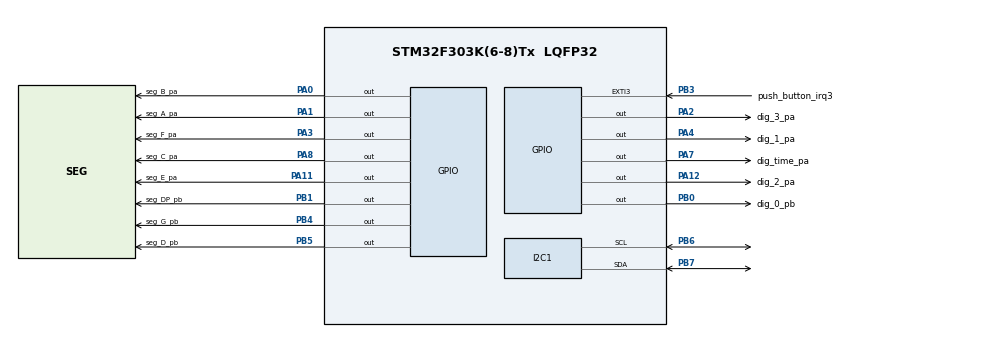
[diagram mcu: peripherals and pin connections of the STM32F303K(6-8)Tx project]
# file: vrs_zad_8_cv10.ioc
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I2C1.NoStretchMode=I2C_NOSTRETCH_ENABLE
Mcu.Family=STM32F3
Mcu.Name=STM32F303K(6-8)Tx
Mcu.Package=LQFP32
NVIC.EXTI3_IRQn=true\:0\:0\:false\:false\:true\:true\:true
NVIC.I2C1_EV_IRQn=true\:0\:0\:false\:false\:true\:true\:true
NVIC.PriorityGroup=NVIC_PRIORITYGROUP_4
NVIC.TIM1_TRG_COM_TIM17_IRQn=true\:0\:0\:false\:false\:true\:true\:true
NVIC.TIM1_UP_TIM16_IRQn=true\:0\:0\:false\:false\:true\:true\:true
PA0.GPIO_Label=seg_B_pa
PA0.Signal=GPIO_Output
PA1.GPIO_Label=seg_A_pa
PA1.Signal=GPIO_Output
PA11.GPIO_Label=seg_E_pa
PA11.Signal=GPIO_Output
PA12.GPIO_Label=dig_2_pa
PA12.Signal=GPIO_Output
PA13.GPIO_Label=SWDIO
PA13.Mode=Serial_Wire
PA13.Signal=SYS_JTMS-SWDIO
PA14.GPIO_Label=SWCLK
PA14.Mode=Serial_Wire
PA14.Signal=SYS_JTCK-SWCLK
PA15.GPIO_Label=VCP_RX
PA15.Signal=USART2_RX
PA2.GPIO_Label=dig_3_pa
PA2.Signal=GPIO_Output
PA3.GPIO_Label=seg_F_pa
PA3.Signal=GPIO_Output
PA4.GPIO_Label=dig_1_pa
PA4.Signal=GPIO_Output
PA7.GPIO_Label=dig_time_pa
PA7.Signal=GPIO_Output
PA8.GPIO_Label=seg_C_pa
PA8.Signal=GPIO_Output
PB0.GPIO_Label=dig_0_pb
PB0.Signal=GPIO_Output
PB1.GPIO_Label=seg_DP_pb
PB1.Signal=GPIO_Output
PB3.GPIO_Label=push_button_irq3
PB3.GPIO_ModeDefaultEXTI=GPIO_MODE_IT_RISING
PB3.GPIO_PuPd=GPIO_PULLDOWN
PB3.Signal=GPXTI3
PB4.GPIO_Label=seg_G_pb
PB4.Signal=GPIO_Output
PB5.GPIO_Label=seg_D_pb
PB5.Signal=GPIO_Output
PB6.Mode=I2C
PB6.Signal=I2C1_SCL
PB7.Mode=I2C
PB7.Signal=I2C1_SDA
PF0\ /\ OSC_IN.GPIO_Label=MCO
PF0\ /\ OSC_IN.Mode=HSE-External-Clock-Source
PF0\ /\ OSC_IN.Signal=RCC_OSC_IN
ProjectManager.HeapSize=0x200
ProjectManager.StackSize=0x400
ProjectManager.TargetToolchain=STM32CubeIDE
RCC.AHBFreq_Value=8000000
RCC.APB1Freq_Value=8000000
RCC.APB2Freq_Value=8000000
RCC.CortexFreq_Value=8000000
RCC.HSE_VALUE=8000000
RCC.HSI_VALUE=8000000
RCC.SYSCLKFreq_VALUE=8000000
TIM16.Period=499
TIM16.Prescaler=7999
TIM17.Period=7999
VP_TIM16_VS_ClockSourceINT.Mode=Enable_Timer
VP_TIM17_VS_ClockSourceINT.Mode=Enable_Timer
board=NUCLEO-F303K8

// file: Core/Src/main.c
/* USER CODE BEGIN Header */
/**
  ******************************************************************************
  * @file           : main.c
  * @brief          : Main program body
  ******************************************************************************
  * @attention
  *
  * <h2><center>&copy; Copyright (c) 2020 STMicroelectronics.
  * All rights reserved.</center></h2>
  *
  * This software component is licensed by ST under BSD 3-Clause license,
  * the "License"; You may not use this file except in compliance with the
  * License. You may obtain a copy of the License at:
  *                        opensource.org/licenses/BSD-3-Clause
  *
  ******************************************************************************
  */
/* USER CODE END Header */
#include "main.h"

/* USER CODE BEGIN PTD */
#include <math.h>
/* USER CODE END PTD */

/* USER CODE BEGIN PD */
#define max_test_push_button 0x3*0x1103// 10.01 msec(29.73ms)
#define max_try_to_inicialize_whoami 5
#define with_avg	0xff
#define whitout_avg	0x00

#define	WHO_AM_I_ADDRES		0x0F

#define hts221_DEVICE_ADDRESS_write	0xBE	//humidity+temp
#define hts221_DEVICE_ADDRESS_read	0xBF
#define	hts221_WHO_AM_I_VALUE 		0xBC
//#define	hts221_WHO_AM_I_ADDRES		0x0F
#define hts221_ADDRESS_HUM_L 		0x28
#define hts221_ADDRESS_TEMP_L 		0x2a
#define hts221_av_conf				0x10 //1b
#define hts221_crtl_reg_1 			0x20 //0x85

#define lps25hb_DEVICE_ADDRESS_write	0xBA	//barometer+temp(not coded)
#define lps25hb_DEVICE_ADDRESS_read		0xBB
#define	lps25hb_WHO_AM_I_VALUE 			0xBD
//#define	lps25hb_WHO_AM_I_ADDRES			0x0F
#define lps25hb_crtl_reg_1 				0x20 //0x90
#define lps25hb_ADDRESS_pres_L 			0x28

#define lis3mdl_DEVICE_ADDRESS_write	0x3c 	// magnetometer + temp(not to use)
#define lis3mdl_DEVICE_ADDRESS_read		0x3d
#define lis3mdl_WHO_AM_I_VALUE			0x3d
#define lis3mdl_ADDRESS_CTRL1			0x20
#define lis3mdl_ADDRESS_X				0x28
#define lis3mdl_ADDRESS_Y				0x2A
#define lis3mdl_ADDRESS_Z				0x2C
#define lis3mdl_ADDRESS_TEMP_L			0x2e

#define LSM6DS0_DEVICE_ADDRESS_write	0xD4 	// acelerometer + temp(not to use)
#define LSM6DS0_DEVICE_ADDRESS_read		0xD6
#define LSM6DS0_WHO_AM_I_VALUE			0x68
//#define LSM6DS0_WHO_AM_I_ADDRES		0x0F
#define LSM6DS0_ADDRESS_CTRL1			0x10
#define LSM6DS0_ADDRESS_ACCX			0x28
#define LSM6DS0_ADDRESS_ACCY			0x2A
#define LSM6DS0_ADDRESS_ACCZ			0x2C
#define LSM6DS0_ADDRESS_TEMP_L			0x20

uint8_t mode=0;
#define multiplex_display 0x1
#define shift_display 0x2
#define up_or_down	0x04
#define push_button_pushed 0x80

uint8_t what_to_measure = 5;
#define max_buff_size 64
uint8_t active_display_digit=0;
uint16_t display_buffer_pa[max_buff_size];
uint16_t display_buffer_pb[max_buff_size];
uint8_t str[max_buff_size];

uint16_t size_buff=0;
uint16_t offset=0;

float temperature=0.0;
float humidity=0.0;
float pressure=0.0;
float altitude=0.0;
float acc[3]={0.0,0.0,0.0};
float azymuth=0.0;
//float azymuth_gain=0.0;
//int16_t ret_val=0;

// hts221 calibration register values
//uint8_t H0,H1;//0x30,0x31,
uint8_t H_uint8[2];//0x30,0x31,
//int16_t H2,H3,T0,T1,T2,T3;
int16_t H_T_uint16_t[6];
//uint16_t H_T_uint16_t[6];//H2[0],H3[1],T0[2],T1[3],T2,T3
//int16_t T1,T2,T3;//[36-37:msb],0x32,0x33,[3a-3b:msb],[3c-3d:msb],[3e-3f:msb]

uint8_t *aReceiveBuffer_read , end_of_read_flag = 0;
volatile uint8_t ubReceiveIndex = 0;
/* USER CODE END PD */

/* USER CODE BEGIN PM */
void my_str_cpy(uint8_t * from, uint8_t * to, uint16_t *copied, uint16_t max);
void convert_char_to_7seg(uint8_t ch,uint16_t *pa,uint16_t *pb);
void convert_str_to_7seg(uint8_t *from, uint16_t *pa,uint16_t *pb,uint16_t max);
void start_tim17_with_IT(void);
void start_tim16_with_IT(void);
void multiplex_display_fcn(uint16_t offset,uint16_t max_offset);
uint8_t test_push_button_state(uint16_t max_test);
void push_button_pushed_fcn(void);
void calculate_altitude(uint8_t avg);
void float_to_char(float num,uint8_t *ptr,uint8_t pos, uint8_t num_of_decimals_before_DP,uint8_t num_of_decimals_after_DP);
/* USER CODE END PM */

void SystemClock_Config(void);
static void MX_GPIO_Init(void);
static void MX_TIM17_Init(void);
static void MX_TIM16_Init(void);
static void MX_I2C1_Init(void);

void i2c_master_write(uint8_t data, uint8_t register_addr, uint8_t slave_addr, uint8_t read_flag);
uint8_t* i2c_master_read(uint8_t* buffer, uint8_t length, uint8_t register_addr, uint8_t slave_addr, uint8_t read_flag);

void lsm6ds0_get_acc(float* x, float* y, float* z); //accelerometer
int16_t lsm6ds0_get_temp();// picsafust
uint8_t lsm6ds0_init(void);
//uint8_t lsm6ds0_read_byte(uint8_t reg_addr);
//void lsm6ds0_write_byte(uint8_t reg_addr, uint8_t value);
//void lsm6ds0_readArray(uint8_t * data, uint8_t reg, uint8_t length);

uint8_t hts221_init(void);	// humidity+temp meter
//uint8_t hts221_read_byte(uint8_t reg_addr);
//void hts221_write_byte(uint8_t reg_addr, uint8_t value);
//void hts221_readArray(uint8_t * data, uint8_t reg, uint8_t length);
int16_t hts221_get_temp(uint8_t avg_en);
int16_t hts221_get_hum(uint8_t avg_en);

uint8_t lps25hb_init(void);	// barometer
int32_t lps25hb_get_pressure(uint8_t avg_en);
//uint8_t lps25hb_read_byte(uint8_t reg_addr);
//void lps25hb_write_byte(uint8_t reg_addr, uint8_t value);
//void lps25hb_readArray(uint8_t * data, uint8_t reg, uint8_t length);

uint8_t lis3mdl_init(void);	// magnetometer
void lis3mdl_get_azymuth(uint8_t avg_en);
float get_gain_azymuth(void);

int main(void)
{
  /* USER CODE BEGIN 1 */
	uint8_t temp=0;
	//uint16_t ret_val=0;

  /* USER CODE END 1 */

  /* MCU Configuration--------------------------------------------------------*/

  /* Reset of all peripherals, Initializes the Flash interface and the Systick. */

  LL_APB2_GRP1_EnableClock(LL_APB2_GRP1_PERIPH_SYSCFG);
  LL_APB1_GRP1_EnableClock(LL_APB1_GRP1_PERIPH_PWR);

  NVIC_SetPriorityGrouping(NVIC_PRIORITYGROUP_4);

  /* System interrupt init*/

  /* Configure the system clock */
  SystemClock_Config();

  /* Initialize all configured peripherals */
  MX_GPIO_Init();
  MX_TIM17_Init();
  MX_TIM16_Init();
  MX_I2C1_Init();
  /* USER CODE BEGIN 2 */

  //my_str_cpy((uint8_t *) "PEtEr_SZabo_47447_PIrHaLa_MatEJ_92621", str, &size_buff, max_buff_size);
  //convert_str_to_7seg(str, display_buffer_pa,display_buffer_pb,size_buff);

  push_button_pushed_fcn();
  //NVIC_EnableIRQ(EXTI0_IRQn);

//  temp=lsm6ds0_init();//accelerometer
  temp=hts221_init();//humidity
  temp=lps25hb_init();//barometer
  temp=lis3mdl_init();//magnetometer
  if (temp==0)
  	  {acc[0]=0.0;}

  start_tim17_with_IT();
  start_tim16_with_IT();
  //start_i2c_set_dma();

  /* USER CODE END 2 */

  /* Infinite loop */
  /* USER CODE BEGIN WHILE */
  while (1)
  {
	  __WFI();
	  if (mode & multiplex_display){
		  multiplex_display_fcn(offset,size_buff-4);
		  mode &=~ multiplex_display;
	  }
	  if (mode & shift_display){
		  //get_temperature();
		  //lsm6ds0_get_acc(&acc[0],&acc[1],&acc[2]);
		  //ret_val=lsm6ds0_get_temp(); //picsafust
		  //ret_val=hts221_get_temp(0xff);	//fasza
		  //ret_val=hts221_get_hum(0xff);	//fasza

		  if (mode & up_or_down){
			  // up

			  offset++;
			  if (offset >(size_buff-4)){
				  offset=size_buff-4;
				  mode &= ~up_or_down;
			  }
		  }
		  else{

			  if (offset == 0){
				  offset=0;
				  mode |=up_or_down;
			  }
			  else{
				  offset--;
			  }
		  }
		  switch (what_to_measure){
		  case 0:{ // magnitude == azymuth
			  lis3mdl_get_azymuth(with_avg);
			  // float to char
			  float_to_char(azymuth,str,4, 3,1);
			  break;}
		  case 1:{ // temperature
			  hts221_get_temp(with_avg);
			  // float to char
			  float_to_char(temperature,str,5, 2,1);
			  break;}
		  case 2: { // humidity
			  hts221_get_hum(with_avg);
			  // float to char
			  float_to_char(humidity,str,4, 2,0);
			  break;}
		  case 3: { // pressure
			  lps25hb_get_pressure(with_avg);
			  // float to char
			  float_to_char(pressure,str,4, 4,2);
			  break;}
		  case 4: { // altitude
			  lps25hb_get_pressure(with_avg);
			  hts221_get_temp(with_avg);
			  calculate_altitude(with_avg);
			  // float to char
			  float_to_char(altitude,str,4, 4,1);
			  break;}

		  }
		  //hts221_get_temp(with_avg);			//fasza
		  //hts221_get_hum(with_avg);				//fasza
		  //lps25hb_get_pressure(with_avg);		//fasza
		  //calculate_altitude(with_avg);			//fasza
		  //lis3mdl_get_azymuth(with_avg);		//kerdeses

		  //offset++;
		  //LL_GPIO_TogglePin(led_GPIO_Port,led_Pin);
		  //if (offset >(size_buff-4)){
		  	  //offset=0;}
		  mode &=~ shift_display;
	  }
	  if (mode & push_button_pushed){
		  //LL_GPIO_TogglePin(led_GPIO_Port, led_Pin);
		  if (test_push_button_state(max_test_push_button)){
			  push_button_pushed_fcn();
		  }
		  //LL_GPIO_TogglePin(led_GPIO_Port, led_Pin);
		  mode &= ~ push_button_pushed;
	  }
    /* USER CODE END WHILE */

  }
}

void SystemClock_Config(void)
{
  LL_FLASH_SetLatency(LL_FLASH_LATENCY_0);
  while(LL_FLASH_GetLatency()!= LL_FLASH_LATENCY_0)
  {
  }
  LL_RCC_HSI_Enable();

   /* Wait till HSI is ready */
  while(LL_RCC_HSI_IsReady() != 1)
  {

  }
  LL_RCC_HSI_SetCalibTrimming(16);
  LL_RCC_SetAHBPrescaler(LL_RCC_SYSCLK_DIV_1);
  LL_RCC_SetAPB1Prescaler(LL_RCC_APB1_DIV_1);
  LL_RCC_SetAPB2Prescaler(LL_RCC_APB1_DIV_1);
  LL_RCC_SetSysClkSource(LL_RCC_SYS_CLKSOURCE_HSI);

   /* Wait till System clock is ready */
  while(LL_RCC_GetSysClkSource() != LL_RCC_SYS_CLKSOURCE_STATUS_HSI)
  {

  }
  LL_Init1msTick(8000000);
  LL_SetSystemCoreClock(8000000);
  LL_RCC_SetI2CClockSource(LL_RCC_I2C1_CLKSOURCE_HSI);
}

static void MX_I2C1_Init(void)
{

  LL_I2C_InitTypeDef I2C_InitStruct = {0};

  LL_GPIO_InitTypeDef GPIO_InitStruct = {0};

  LL_AHB1_GRP1_EnableClock(LL_AHB1_GRP1_PERIPH_GPIOB);
  /**I2C1 GPIO Configuration
  PB6   ------> I2C1_SCL
  PB7   ------> I2C1_SDA
  */
  GPIO_InitStruct.Pin = LL_GPIO_PIN_6|LL_GPIO_PIN_7;
  GPIO_InitStruct.Mode = LL_GPIO_MODE_ALTERNATE;
  GPIO_InitStruct.Speed = LL_GPIO_SPEED_FREQ_HIGH;
  GPIO_InitStruct.OutputType = LL_GPIO_OUTPUT_OPENDRAIN;
  GPIO_InitStruct.Pull = LL_GPIO_PULL_UP;
  GPIO_InitStruct.Alternate = LL_GPIO_AF_4;
  LL_GPIO_Init(GPIOB, &GPIO_InitStruct);

  /* Peripheral clock enable */
  LL_APB1_GRP1_EnableClock(LL_APB1_GRP1_PERIPH_I2C1);

  /* I2C1 interrupt Init */
  NVIC_SetPriority(I2C1_EV_IRQn, NVIC_EncodePriority(NVIC_GetPriorityGrouping(),0, 0));
  NVIC_EnableIRQ(I2C1_EV_IRQn);

  /** I2C Initialization
  */
  LL_I2C_DisableClockStretching(I2C1);
  LL_I2C_EnableAutoEndMode(I2C1);
  LL_I2C_DisableOwnAddress2(I2C1);
  LL_I2C_DisableGeneralCall(I2C1);
  I2C_InitStruct.PeripheralMode = LL_I2C_MODE_I2C;
  I2C_InitStruct.Timing = 0x2000090E;
  I2C_InitStruct.AnalogFilter = LL_I2C_ANALOGFILTER_ENABLE;
  I2C_InitStruct.DigitalFilter = 0;
  I2C_InitStruct.OwnAddress1 = 0;
  I2C_InitStruct.TypeAcknowledge = LL_I2C_ACK;
  I2C_InitStruct.OwnAddrSize = LL_I2C_OWNADDRESS1_7BIT;
  LL_I2C_Init(I2C1, &I2C_InitStruct);
  LL_I2C_SetOwnAddress2(I2C1, 0, LL_I2C_OWNADDRESS2_NOMASK);

}

static void MX_TIM16_Init(void)
{

  LL_TIM_InitTypeDef TIM_InitStruct = {0};

  /* Peripheral clock enable */
  LL_APB2_GRP1_EnableClock(LL_APB2_GRP1_PERIPH_TIM16);

  /* TIM16 interrupt Init */
  NVIC_SetPriority(TIM1_UP_TIM16_IRQn, NVIC_EncodePriority(NVIC_GetPriorityGrouping(),0, 0));
  NVIC_EnableIRQ(TIM1_UP_TIM16_IRQn);

  TIM_InitStruct.Prescaler = 7999;
  TIM_InitStruct.CounterMode = LL_TIM_COUNTERMODE_UP;
  TIM_InitStruct.Autoreload = 499;
  TIM_InitStruct.ClockDivision = LL_TIM_CLOCKDIVISION_DIV1;
  TIM_InitStruct.RepetitionCounter = 0;
  LL_TIM_Init(TIM16, &TIM_InitStruct);
  LL_TIM_DisableARRPreload(TIM16);

}

static void MX_TIM17_Init(void)
{

  LL_TIM_InitTypeDef TIM_InitStruct = {0};

  /* Peripheral clock enable */
  LL_APB2_GRP1_EnableClock(LL_APB2_GRP1_PERIPH_TIM17);

  /* TIM17 interrupt Init */
  NVIC_SetPriority(TIM1_TRG_COM_TIM17_IRQn, NVIC_EncodePriority(NVIC_GetPriorityGrouping(),0, 0));
  NVIC_EnableIRQ(TIM1_TRG_COM_TIM17_IRQn);

  TIM_InitStruct.Prescaler = 0;
  TIM_InitStruct.CounterMode = LL_TIM_COUNTERMODE_UP;
  TIM_InitStruct.Autoreload = 7999;
  TIM_InitStruct.ClockDivision = LL_TIM_CLOCKDIVISION_DIV1;
  TIM_InitStruct.RepetitionCounter = 0;
  LL_TIM_Init(TIM17, &TIM_InitStruct);
  LL_TIM_DisableARRPreload(TIM17);

}

static void MX_GPIO_Init(void)
{
  LL_EXTI_InitTypeDef EXTI_InitStruct = {0};
  LL_GPIO_InitTypeDef GPIO_InitStruct = {0};

  /* GPIO Ports Clock Enable */
  LL_AHB1_GRP1_EnableClock(LL_AHB1_GRP1_PERIPH_GPIOF);
  LL_AHB1_GRP1_EnableClock(LL_AHB1_GRP1_PERIPH_GPIOA);
  LL_AHB1_GRP1_EnableClock(LL_AHB1_GRP1_PERIPH_GPIOB);

  /**/
  LL_GPIO_ResetOutputPin(GPIOA, seg_B_pa_Pin|seg_A_pa_Pin|dig_3_pa_Pin|seg_F_pa_Pin
                          |dig_1_pa_Pin|dig_time_pa_Pin|seg_C_pa_Pin|seg_E_pa_Pin
                          |dig_2_pa_Pin);

  /**/
  LL_GPIO_ResetOutputPin(GPIOB, dig_0_pb_Pin|seg_DP_pb_Pin|seg_G_pb_Pin|seg_D_pb_Pin);

  /**/
  GPIO_InitStruct.Pin = seg_B_pa_Pin|seg_A_pa_Pin|dig_3_pa_Pin|seg_F_pa_Pin
                          |dig_1_pa_Pin|dig_time_pa_Pin|seg_C_pa_Pin|seg_E_pa_Pin
                          |dig_2_pa_Pin;
  GPIO_InitStruct.Mode = LL_GPIO_MODE_OUTPUT;
  GPIO_InitStruct.Speed = LL_GPIO_SPEED_FREQ_LOW;
  GPIO_InitStruct.OutputType = LL_GPIO_OUTPUT_PUSHPULL;
  GPIO_InitStruct.Pull = LL_GPIO_PULL_NO;
  LL_GPIO_Init(GPIOA, &GPIO_InitStruct);

  /**/
  GPIO_InitStruct.Pin = dig_0_pb_Pin|seg_DP_pb_Pin|seg_G_pb_Pin|seg_D_pb_Pin;
  GPIO_InitStruct.Mode = LL_GPIO_MODE_OUTPUT;
  GPIO_InitStruct.Speed = LL_GPIO_SPEED_FREQ_LOW;
  GPIO_InitStruct.OutputType = LL_GPIO_OUTPUT_PUSHPULL;
  GPIO_InitStruct.Pull = LL_GPIO_PULL_NO;
  LL_GPIO_Init(GPIOB, &GPIO_InitStruct);

  /**/
  GPIO_InitStruct.Pin = VCP_RX_Pin;
  GPIO_InitStruct.Mode = LL_GPIO_MODE_ALTERNATE;
  GPIO_InitStruct.Speed = LL_GPIO_SPEED_FREQ_HIGH;
  GPIO_InitStruct.OutputType = LL_GPIO_OUTPUT_PUSHPULL;
  GPIO_InitStruct.Pull = LL_GPIO_PULL_NO;
  GPIO_InitStruct.Alternate = LL_GPIO_AF_7;
  LL_GPIO_Init(VCP_RX_GPIO_Port, &GPIO_InitStruct);

  /**/
  LL_SYSCFG_SetEXTISource(LL_SYSCFG_EXTI_PORTB, LL_SYSCFG_EXTI_LINE3);

  /**/
  LL_GPIO_SetPinPull(push_button_irq3_GPIO_Port, push_button_irq3_Pin, LL_GPIO_PULL_DOWN);

  /**/
  LL_GPIO_SetPinMode(push_button_irq3_GPIO_Port, push_button_irq3_Pin, LL_GPIO_MODE_INPUT);

  /**/
  EXTI_InitStruct.Line_0_31 = LL_EXTI_LINE_3;
  EXTI_InitStruct.Line_32_63 = LL_EXTI_LINE_NONE;
  EXTI_InitStruct.LineCommand = ENABLE;
  EXTI_InitStruct.Mode = LL_EXTI_MODE_IT;
  EXTI_InitStruct.Trigger = LL_EXTI_TRIGGER_RISING;
  LL_EXTI_Init(&EXTI_InitStruct);

  /* EXTI interrupt init*/
  NVIC_SetPriority(EXTI3_IRQn, NVIC_EncodePriority(NVIC_GetPriorityGrouping(),0, 0));
  NVIC_EnableIRQ(EXTI3_IRQn);

}

/* USER CODE BEGIN 4 */
void push_button_pushed_fcn(void){

	what_to_measure++;
	if(what_to_measure >= 5){
		what_to_measure=0;
	}
	offset=0;active_display_digit=0;
	mode |= up_or_down;
	switch(what_to_measure){
	case 0:{
		//azymut [deg]: "MAG_xx.x"
		my_str_cpy((uint8_t *) "MAG_000.0\0", str, &size_buff, max_buff_size);
		convert_str_to_7seg(str, display_buffer_pa,display_buffer_pb,size_buff);
		// to do: convert num 2 str to xx.x
		lis3mdl_get_azymuth(with_avg);
		// float to char
		float_to_char(azymuth,str,4, 3,1);
		break;}
	case 1:{
		//teplota [°C]: "TEMP_xx.x"
		my_str_cpy((uint8_t *) "tEMP_00.0\0", str, &size_buff, max_buff_size);
		convert_str_to_7seg(str, display_buffer_pa,display_buffer_pb,size_buff);
		// to do: convert num 2 str to xx.x
		hts221_get_temp(with_avg);
		// float to char
		float_to_char(temperature,str,5, 2,1);
		break;}
	case 2:{
		//rel. vlhkosť [%]: "HUM_xx"
		my_str_cpy((uint8_t *) "HUM_00\0", str, &size_buff, max_buff_size);
		convert_str_to_7seg(str, display_buffer_pa,display_buffer_pb,size_buff);
		// to do: convert num 2 str to xx.x
		hts221_get_hum(with_avg);
		// float to char
		float_to_char(humidity,str,4, 2,0);
		break;}
	case 3:{
		//tlak vzduchu [hPa]: "BAR_xxxx.xx"
		my_str_cpy((uint8_t *) "bAr_0000.00\0", str, &size_buff, max_buff_size);
		convert_str_to_7seg(str, display_buffer_pa,display_buffer_pb,size_buff);
		// to do: convert num 2 str to xx.x
		lps25hb_get_pressure(with_avg);
		// float to char
		float_to_char(pressure,str,4, 4,2);
		break;}
	case 4:{
		//nadmorská výška [m]: "ALT_xxxx.x"
		my_str_cpy((uint8_t *) "ALt_0000.0\0", str, &size_buff, max_buff_size);
		convert_str_to_7seg(str, display_buffer_pa,display_buffer_pb,size_buff);
		// to do: convert num 2 str to xx.x
		lps25hb_get_pressure(with_avg);
		hts221_get_temp(with_avg);
		calculate_altitude(with_avg);
		// float to char
		float_to_char(altitude,str,4, 4,1);
		break;}
	}

}
void while_loop_converse(uint8_t * result,uint32_t *number, uint32_t *mask){
	while(*number>*mask){
		*result +=1;
		*number -= *mask;
	}
	*mask /=10;
	*result +='0';
}

void float_to_char(float num,uint8_t *ptr,uint8_t pos, uint8_t num_of_decimals_before_DP,uint8_t num_of_decimals_after_DP){
	uint8_t cnt,temp_2=1;uint32_t num_to_converse,mask=1;
	uint16_t *p_pa,*p_pb;

	//return;

	for(cnt=0;cnt<num_of_decimals_after_DP;cnt++){
		temp_2*=10;
		mask*=10;
	}
	num=round(num*((float)temp_2));
	num_to_converse=(uint32_t) num;
	for(cnt=0;cnt<num_of_decimals_before_DP-1;cnt++){
		mask*=10;
	}

	p_pa=&display_buffer_pa[pos];
	p_pb=&display_buffer_pb[pos];
	for(cnt=0;cnt<num_of_decimals_before_DP;cnt++){
		temp_2=0;
		while_loop_converse(&temp_2,&num_to_converse,&mask);
		convert_char_to_7seg(temp_2,p_pa,p_pb);
		p_pa+=1;p_pb+=1;
	}
	if (num_of_decimals_after_DP > 0)
		{p_pa-=1;p_pb-=1;
		*p_pb &= ~(seg_DP_pb_Pin );
		p_pa+=1;p_pb+=1;
		//convert_char_to_7seg('.',p_pa,p_pb);
		//size_buff--;
		}
	for (cnt=0;cnt<num_of_decimals_after_DP;cnt++){
		temp_2=0;
		while_loop_converse(&temp_2,&num_to_converse,&mask);
		convert_char_to_7seg(temp_2,p_pa,p_pb);
		p_pa+=1;p_pb+=1;
	}
// to do .... complete
}

int16_t hts221_get_temp(uint8_t avg_en){
	uint8_t data[2];int16_t raw;
	float temp;
	//hts221_readArray(data, hts221_ADDRESS_TEMP_L, 2);
	i2c_master_read(data, 2, hts221_ADDRESS_TEMP_L, hts221_DEVICE_ADDRESS_read, 1);
	raw= (int16_t)((uint16_t)data[0]+((uint16_t)data[1])*256);

	if (raw>32767)
		raw-=65536;

	temp= ((H_T_uint16_t[3] - H_T_uint16_t[2]) / 8.0) * (raw - H_T_uint16_t[4]) / (H_T_uint16_t[5] - H_T_uint16_t[4]) + (H_T_uint16_t[2] / 8.0);
	//temperature= ((T1 - T0) / 8.0) * (raw - T2) / (T3 - T2) + (T0 / 8.0);
	if(avg_en){
		temperature=(temperature+temp)/2.0;
	}else{
		temperature=temp;
	}
	return(raw);
}

int16_t hts221_get_hum(uint8_t avg_en){
	uint8_t data[2];int16_t raw;
	float temp;
	//hts221_readArray(data, hts221_ADDRESS_HUM_L, 2);
	i2c_master_read(data, 2,  hts221_ADDRESS_HUM_L, hts221_DEVICE_ADDRESS_read, 1);
	raw= (int16_t)((uint16_t)data[0]+((uint16_t)data[1])*256);

	//humidity=       ((1.0 * H1) - (1.0 * H0        )) * (1.0 * raw - 1.0 * H2             ) / (1.0 * H3 - 1.0 * H2             ) + (1.0 * H0        );
	temp=       ((1.0 * H_uint8[1]) - (1.0 * H_uint8[0]        )) * (1.0 * raw - 1.0 * H_T_uint16_t[0]             ) / (1.0 * H_T_uint16_t[1] - 1.0 * H_T_uint16_t[0]             ) + (1.0 * H_uint8[0]        );
	if (avg_en){
		humidity=(temp+humidity)/2.0;
	}else{
		humidity=temp;
	}
	return(raw);
}

int32_t lps25hb_get_pressure(uint8_t avg_en){
	uint8_t data[3];int32_t ret_val;
	//lps25hb_readArray(&data[0], lps25hb_ADDRESS_pres_L, 3);
	i2c_master_read(&data[0], 3, lps25hb_ADDRESS_pres_L, lps25hb_DEVICE_ADDRESS_read, 1);
	ret_val=(int32_t)((uint32_t)(data[0]&0xff)+((uint32_t)(data[1]&0xff))*256+((uint32_t)(data[2]&0xff))*256*256);
	//pressure=(pressure+ret_val/(4096.0*1.0))/2.0;
	if (avg_en){
		pressure=(pressure+ret_val/4096.0)/2.0;
	}
	else{
		pressure=ret_val/4096.0;
	}

	return(ret_val);
}

void lis3mdl_get_azymuth(uint8_t avg_en){
	//uint8_t data[4];int16_t x,y;float X,Y,temp;
	uint8_t data[4];int16_t x,y;float temp;
	i2c_master_read(data, 4, lis3mdl_ADDRESS_X, lis3mdl_DEVICE_ADDRESS_read, 1);

	x=(int16_t)((uint16_t)data[0]+((uint16_t)data[1])*256);
	y=(int16_t)((uint16_t)data[2]+((uint16_t)data[3])*256);

	//X=x*azymuth_gain;
	//Y=y*azymuth_gain;

	//temp=atan2(Y,X)*180.0/M_PI;
	if (x!=0){
		temp=atan(((float)y*1.0f)/((float)x*1.0f))*(180/M_PI);
		//temp=atan2(((float)y*1.0f),((float)x*1.0f))*(180/M_PI);
		if ((y>=0 ) && (x<0)) // second quadrant
			temp+=180.0;
		if ((y<0 ) && (x<0))	// third quadrant
			temp-=180.0;
	}else{
		if(y>0){
			temp=90.0;
		}else{
			temp=-90.0;
		}
	}
	if (temp>=0.0){
		//positive
		while(temp>=360.0){
			temp-=360;
			}
		}else{
		//negative
		while(temp<=0.0){
			temp+=360.0;
			}
		}

	if (avg_en){
		azymuth=(temp+azymuth)/2.0;
	}else{
		azymuth=temp;}

}

float get_gain_azymuth(void){
	uint8_t data;
	i2c_master_read(&data, 1,0x21 , lis3mdl_DEVICE_ADDRESS_read, 1);
	data &=60;

	if (data == 0x00){
		//azymuth_gain=;
		return(4.0f/32768.0f);
	}
	if (data == 0x20){
		//azymuth_gain=(8.0/32768.0);
		return(8.0f/32768.0f);
	}
	if (data == 0x40){
		//azymuth_gain=(12.0/32768.0);
		return(12.0f/32768.0f);
	}
	//if (data == 0x60){
	return(16.0f/32768.0f);
	//}
}

void lsm6ds0_get_acc(float* x, float* y, float* z)
{
	uint8_t data[6];
	int16_t xx, yy, zz;

	uint8_t temp;

	//get current scale and use it for final calculation
    //temp = lsm6ds0_read_byte(LSM6DS0_ADDRESS_CTRL1);
    i2c_master_read(&temp, 1, LSM6DS0_ADDRESS_CTRL1, LSM6DS0_DEVICE_ADDRESS_read, 0);
	temp = temp >> 2;
    temp &= 0x03;			//full scale bits exctracted

//	lsm6ds0_readArray(data, LSM6DS0_ADDRESS_ACCX, 6);
    i2c_master_read(data, 6, LSM6DS0_ADDRESS_ACCX, LSM6DS0_DEVICE_ADDRESS_read, 1);

	xx = ((uint16_t)data[1]) << 8 | data[0];
	yy = ((uint16_t)data[3]) << 8 | data[2];
	zz = ((uint16_t)data[5]) << 8 | data[4];

	*x = (xx >> 4) / 1000.0f;
	*y = (yy >> 4) / 1000.0f;
	*z = (zz >> 4) / 1000.0f;
}

int16_t lsm6ds0_get_temp()
{
	uint8_t temp[2];
//	lsm6ds0_readArray(temp, LSM6DS0_ADDRESS_TEMP_L, 2);
	i2c_master_read(temp, 2, LSM6DS0_ADDRESS_TEMP_L, LSM6DS0_DEVICE_ADDRESS_read, 1);

	return (((int16_t)((temp[1] << 8) | temp[0])) >> 3)  + 25;
}

//uint8_t lsm6ds0_read_byte(uint8_t reg_addr){
//	uint8_t data = 0;
//#define 	LSM6DS0_DEVICE_ADDRESS_write			0xD4
//#define 	LSM6DS0_DEVICE_ADDRESS_read				0xD6
//	return *(i2c_master_read(&data, 1, reg_addr, LSM6DS0_DEVICE_ADDRESS_read, 0));
//}

//uint8_t hts221_read_byte(uint8_t reg_addr){
//	uint8_t data = 0;
//#define hts221_DEVICE_ADDRESS_write	0xBE
//#define hts221_DEVICE_ADDRESS_read	0xBF
//	return *(i2c_master_read(&data, 1, reg_addr,hts221_DEVICE_ADDRESS_read , 0));
//}

//uint8_t lps25hb_read_byte(uint8_t reg_addr){
//	uint8_t data = 0;
//#define lps25hb_DEVICE_ADDRESS_write	0xBA	//barometer+temp
//#define lps25hb_DEVICE_ADDRESS_read		0xBB
//	return *(i2c_master_read(&data, 1, reg_addr,lps25hb_DEVICE_ADDRESS_read , 0));
//}

//void hts221_write_byte(uint8_t reg_addr, uint8_t value){
//#define hts221_DEVICE_ADDRESS_write	0xBE
//#define hts221_DEVICE_ADDRESS_read	0xBF
//	i2c_master_write(value, reg_addr,hts221_DEVICE_ADDRESS_write , 0);
//}

//void lps25hb_write_byte(uint8_t reg_addr, uint8_t value){
//#define lps25hb_DEVICE_ADDRESS_write	0xBA	//barometer+temp
//#define lps25hb_DEVICE_ADDRESS_read		0xBB
//	i2c_master_write(value, reg_addr,lps25hb_DEVICE_ADDRESS_write , 0);
//}

//void lsm6ds0_write_byte(uint8_t reg_addr, uint8_t value){
//#define 	LSM6DS0_DEVICE_ADDRESS_write			0xD4
//#define 	LSM6DS0_DEVICE_ADDRESS_read				0xD6
//	i2c_master_write(value, reg_addr, LSM6DS0_DEVICE_ADDRESS_write, 0);
//}

//void hts221_readArray(uint8_t * data, uint8_t reg, uint8_t length){
//#define hts221_DEVICE_ADDRESS_write	0xBE
//#define hts221_DEVICE_ADDRESS_read	0xBF
//	i2c_master_read(data, length, reg, hts221_DEVICE_ADDRESS_read, 1);
//}

//void lsm6ds0_readArray(uint8_t * data, uint8_t reg, uint8_t length){
//#define 	LSM6DS0_DEVICE_ADDRESS_write			0xD4
//#define 	LSM6DS0_DEVICE_ADDRESS_read				0xD6
//	i2c_master_read(data, length, reg, LSM6DS0_DEVICE_ADDRESS_read, 1);
//}

//void lps25hb_readArray(uint8_t * data, uint8_t reg, uint8_t length){
//#define lps25hb_DEVICE_ADDRESS_write	0xBA	//barometer+temp
//#define lps25hb_DEVICE_ADDRESS_read		0xBB
//	i2c_master_read(data, length, reg, lps25hb_DEVICE_ADDRESS_read, 1);
//}

uint8_t lsm6ds0_init(void)// accelerometer
{
	uint8_t status = 0,cnt,val;

		//LIS3MDL_ACC_ON;
	for (cnt=0;cnt<max_try_to_inicialize_whoami;cnt++){
		LL_mDelay(100);

		//uint8_t val = lsm6ds0_read_byte(WHO_AM_I_ADDRES);
		i2c_master_read(&val, 1, WHO_AM_I_ADDRES, LSM6DS0_DEVICE_ADDRESS_read, 0);
		if(val == LSM6DS0_WHO_AM_I_VALUE)
		{
			status = 1;
			break;
		}
	}

		//acc device init

		uint8_t ctrl1 = 8 << 4; // +-2g res
		//lsm6ds0_write_byte(LSM6DS0_ADDRESS_CTRL1, ctrl1);
		i2c_master_write(ctrl1, LSM6DS0_ADDRESS_CTRL1, LSM6DS0_DEVICE_ADDRESS_write, 0);

		return status;
}

uint8_t hts221_init(void){//humidity
	uint8_t status = 0,data[6],val=0,cnt=0;
	for (cnt=0;cnt<max_try_to_inicialize_whoami;cnt++){
		LL_mDelay(100);
		//val = hts221_read_byte(WHO_AM_I_ADDRES);
		i2c_master_read(&val, 1, WHO_AM_I_ADDRES,hts221_DEVICE_ADDRESS_read , 0);
		//if the device is not found on one address, try another one
		if(val == hts221_WHO_AM_I_VALUE){
			status = 1;
			break;
			//if the device is founded on one address, try to inicialize
		}
	}
//#define hts221_av_conf				0x10 //1b
//#define hts221_crtl_reg_1 			0x20 //0x85
	val=0x1b;
	//hts221_write_byte(hts221_av_conf, val);
	i2c_master_write(val, hts221_av_conf,hts221_DEVICE_ADDRESS_write , 0);
	val=0x85;
	//hts221_write_byte(hts221_crtl_reg_1, val);
	i2c_master_write(val, hts221_crtl_reg_1,hts221_DEVICE_ADDRESS_write , 0);
	LL_mDelay(100);
// hts221 calibration register values
//uint8_t H0,H1;//0x30,0x31,0x32,0x33
//int16_t H2,H3,T0,T1,T2,T3;//[36-37:msb],[3a-3b:msb],[3c-3d:msb],[3e-3f:msb]

	//hts221_readArray(&data[0], 0x30, 4);
	i2c_master_read(data, 4, 0x30, hts221_DEVICE_ADDRESS_read, 1);
	//H0=data[0]/2;	//30
	H_uint8[0]=data[0]/2;	//30
	//H1=data[1]/2;	//31
	H_uint8[1]=data[1]/2;	//31

	//T0=data[2];	//32
	H_T_uint16_t[2]=data[2];	//32
	//T1=data[3];	//33
	H_T_uint16_t[3]=data[3];	//33

	//hts221_readArray(&data[0], 0x36, 2);
	i2c_master_read(data, 2, 0x36, hts221_DEVICE_ADDRESS_read, 1);
	H_T_uint16_t[0]=(int16_t)( (uint16_t)data[0]+((uint16_t)data[1])*256 );//[36-37]
	//H2=(int16_t)( (uint16_t)data[0]+((uint16_t)data[1])*256 );//[36-37]

	//hts221_readArray(&data[0], 0x3a, 2);
	i2c_master_read(data, 2, 0x3a, hts221_DEVICE_ADDRESS_read, 1);
	H_T_uint16_t[1]=(int16_t)( (uint16_t)data[0]+((uint16_t)data[1])*256 );//[3a-3b]
	//H3=(int16_t)( (uint16_t)data[0]+((uint16_t)data[1])*256 );//[3a-3b]

	//val=hts221_read_byte(0x35);
	i2c_master_read(&val, 1, 0x35,hts221_DEVICE_ADDRESS_read , 0);
	H_T_uint16_t[2]=((val & 0x3)*256)+H_T_uint16_t[2];
	//T0=((val & 0x3)*256)+T0;
	H_T_uint16_t[3]=((val & 0xc)*64)+H_T_uint16_t[3];
	//T1=((val & 0xc)*64)+T1;

	//hts221_readArray(&data[0], 0x3c, 4);
	i2c_master_read(data, 4, 0x3c, hts221_DEVICE_ADDRESS_read, 1);
	//T2= (int16_t)( ((uint16_t)data[1])*256+(uint16_t)data[0] );//[3c-3d]
	H_T_uint16_t[4]= (int16_t)( ((uint16_t)data[1])*256+(uint16_t)data[0] );//[3c-3d]
	//T3= (int16_t)( ((uint16_t)data[3])*256+(uint16_t)data[2] );//3e-3f
	H_T_uint16_t[5]= (int16_t)( ((uint16_t)data[3])*256+(uint16_t)data[2] );//3e-3f

	hts221_get_temp(whitout_avg);	//fasza
	hts221_get_hum(whitout_avg);		//fasza

	return(status);
}

uint8_t lps25hb_init(void)//barometer
{
	uint8_t status = 0,val,cnt;//,data[3];int32_t temp;
	//LIS3MDL_ACC_ON;
	for (cnt=0;cnt<max_try_to_inicialize_whoami;cnt++){
		LL_mDelay(100);
		//val = lps25hb_read_byte(WHO_AM_I_ADDRES);
		i2c_master_read(&val, 1, WHO_AM_I_ADDRES,lps25hb_DEVICE_ADDRESS_read , 0);
		//if the device is not found on one address, try another one
		if(val == lps25hb_WHO_AM_I_VALUE){
			//if the device is founded on one address
			status = 1;
			break;}
		}
	val = 0x90;//90
	//lps25hb_write_byte(lps25hb_crtl_reg_1, val);
	i2c_master_write(val, lps25hb_crtl_reg_1,lps25hb_DEVICE_ADDRESS_write , 0);

	/*val=0x0f;
	//lps25hb_write_byte(0x10, val);
	i2c_master_write(val, 0x10,lps25hb_DEVICE_ADDRESS_write , 0);
	val=52;
	//lps25hb_write_byte(0x21, val);
	i2c_master_write(val, 0x21,lps25hb_DEVICE_ADDRESS_write , 0);
	val=0xdf;
	//lps25hb_write_byte(0x2e, val);
	i2c_master_write(val, 0x2e,lps25hb_DEVICE_ADDRESS_write , 0);
	 */

	LL_mDelay(100);

	lps25hb_get_pressure(whitout_avg);

	calculate_altitude(whitout_avg);
	return status;
}

uint8_t lis3mdl_init(void){// magnetometer
	uint8_t status = 0,val,cnt;//,data[3];int32_t temp;
	//LIS3MDL_ACC_ON;
	for (cnt=0;cnt<max_try_to_inicialize_whoami;cnt++){
		LL_mDelay(100);
		//val = lis3mdl_read_byte(WHO_AM_I_ADDRES);
		i2c_master_read(&val, 1, WHO_AM_I_ADDRES,lis3mdl_DEVICE_ADDRESS_read , 0);
		//if the device is not found on one address, try another one
		if(val == lis3mdl_WHO_AM_I_VALUE){
			//if the device is founded on one address
			status = 1;
			break;}
		}
	//val = 0x64;//90
	val=0xfc;
	//lis3mdl_write_byte(lis3mdl_crtl_reg_1, val);
	i2c_master_write(val, lis3mdl_ADDRESS_CTRL1,lis3mdl_DEVICE_ADDRESS_write , 0);
	val = 0x00;// +-4 gauss
	i2c_master_write(val, 0x21,lis3mdl_DEVICE_ADDRESS_write , 0);
	val = 0x00;// continous measure
	i2c_master_write(val, 0x22,lis3mdl_DEVICE_ADDRESS_write , 0);
	val = 0x0c;// power mode
	i2c_master_write(val, 0x23,lis3mdl_DEVICE_ADDRESS_write , 0);
	//val = 0x00;// fast reading dis
	//i2c_master_write(val, 0x24,lis3mdl_DEVICE_ADDRESS_write , 0);
	LL_mDelay(100);

	//azymuth_gain=get_gain_azymuth();

	lis3mdl_get_azymuth(whitout_avg);
	return status;
}

void i2c_master_write(uint8_t data, uint8_t register_addr, uint8_t slave_addr, uint8_t read_flag)
{
	if(read_flag)
	{
		register_addr |= (1 << 7);
	}

	LL_I2C_HandleTransfer(I2C1, slave_addr, LL_I2C_ADDRSLAVE_7BIT, 2, LL_I2C_MODE_AUTOEND, LL_I2C_GENERATE_START_WRITE);

	LL_I2C_TransmitData8(I2C1, register_addr);

	while(!LL_I2C_IsActiveFlag_STOP(I2C1))
	{
		if(LL_I2C_IsActiveFlag_TXIS(I2C1))
		{
			LL_I2C_TransmitData8(I2C1, data);
		}
	}
	LL_I2C_ClearFlag_STOP(I2C1);
}

uint8_t* i2c_master_read(uint8_t* buffer, uint8_t length, uint8_t register_addr, uint8_t slave_addr, uint8_t read_flag)
{
	aReceiveBuffer_read = buffer;

	if(read_flag)
	{
		register_addr |= (1 << 7);
	}

	end_of_read_flag = 0;

	LL_I2C_EnableIT_RX(I2C1);

	//poziadam slejva o citanie z jeho registra
	LL_I2C_HandleTransfer(I2C1, slave_addr, LL_I2C_ADDRSLAVE_7BIT, 1, LL_I2C_MODE_AUTOEND, LL_I2C_GENERATE_START_WRITE);

	while(!LL_I2C_IsActiveFlag_STOP(I2C1))
	{
		if(LL_I2C_IsActiveFlag_TXIS(I2C1))
		{
			LL_I2C_TransmitData8(I2C1, register_addr);
		}
	}
	LL_I2C_ClearFlag_STOP(I2C1);
	while(LL_I2C_IsActiveFlag_STOP(I2C1)){}

	//citam register od slejva
	LL_I2C_HandleTransfer(I2C1, slave_addr, LL_I2C_ADDRSLAVE_7BIT, length, LL_I2C_MODE_AUTOEND, LL_I2C_GENERATE_START_READ);

	while(!LL_I2C_IsActiveFlag_STOP(I2C1)){};

	//End of transfer
	LL_I2C_ClearFlag_STOP(I2C1);
	LL_I2C_DisableIT_RX(I2C1);
	I2C1->ICR |= (1 << 4);
	ubReceiveIndex = 0;
	end_of_read_flag = 1;

	return aReceiveBuffer_read;
}

void my_str_cpy(uint8_t * from, uint8_t * to, uint16_t *copied, uint16_t max){
	uint16_t cnt=0;
	for(cnt=0;cnt<max;cnt++){
		if(*from == '\0')
			{*copied=cnt;return;}
		else
			{*to=*from;
			to+=1;from+=1;}
	}
}

void convert_char_to_7seg(uint8_t ch,uint16_t *pa,uint16_t *pb){
	*pa=0xffff & ~( dig_1_pa_Pin | dig_2_pa_Pin | dig_3_pa_Pin | dig_time_pa_Pin);
	*pb=0xffff & ~(dig_0_pb_Pin | dig_0_pb_Pin);//& ~(LL_GPIO_PIN_5 | LL_GPIO_PIN_6);
	switch(ch){
				case '0':{
					*pa &= ~(seg_A_pa_Pin | seg_B_pa_Pin | seg_C_pa_Pin | seg_E_pa_Pin | seg_F_pa_Pin);
					*pb &= ~(seg_D_pb_Pin);
					break;}
				case '1':{
					*pa&=~(seg_B_pa_Pin | seg_C_pa_Pin);
					break;}
				case '2':{
					*pa &= ~(seg_A_pa_Pin | seg_B_pa_Pin | seg_E_pa_Pin );
					*pb &= ~(seg_D_pb_Pin | seg_G_pb_Pin);
					break;}
				case '3':{
					*pa &= ~(seg_A_pa_Pin | seg_B_pa_Pin | seg_C_pa_Pin );
					*pb &= ~(seg_D_pb_Pin | seg_G_pb_Pin);
					break;}
				case '4':{
					*pa &= ~( seg_B_pa_Pin | seg_C_pa_Pin | seg_F_pa_Pin);
					*pb &= ~( seg_G_pb_Pin );
					break;}
				case '5':{
					*pa &= ~(seg_A_pa_Pin | seg_C_pa_Pin | seg_F_pa_Pin);
					*pb &= ~(seg_D_pb_Pin | seg_G_pb_Pin);
					break;}
				case '6':{
					*pa &= ~(seg_A_pa_Pin | seg_C_pa_Pin | seg_E_pa_Pin | seg_F_pa_Pin);
					*pb &= ~(seg_D_pb_Pin | seg_G_pb_Pin);
					break;}
				case '7':{
					*pa &= ~(seg_A_pa_Pin | seg_B_pa_Pin | seg_C_pa_Pin );
					break;}
				case '8':{
					*pa &= ~(seg_A_pa_Pin | seg_B_pa_Pin | seg_C_pa_Pin | seg_E_pa_Pin | seg_F_pa_Pin);
					*pb &= ~(seg_D_pb_Pin | seg_G_pb_Pin);
					break;}
				case '9':{
					*pa &= ~(seg_A_pa_Pin | seg_B_pa_Pin | seg_C_pa_Pin | seg_F_pa_Pin);
					*pb &= ~(seg_D_pb_Pin | seg_G_pb_Pin);
					break;}

				case 'A':{
					*pa &= ~(seg_A_pa_Pin | seg_B_pa_Pin | seg_C_pa_Pin | seg_E_pa_Pin | seg_F_pa_Pin);
					*pb &= ~( seg_G_pb_Pin);
					break;}
				case 'a':{
					*pa &= ~(seg_A_pa_Pin | seg_B_pa_Pin | seg_C_pa_Pin | seg_E_pa_Pin );
					*pb &= ~(seg_D_pb_Pin | seg_G_pb_Pin);
					break;}
				case 'b':{
					*pa &= ~( seg_C_pa_Pin | seg_E_pa_Pin | seg_F_pa_Pin);
					*pb &= ~(seg_D_pb_Pin | seg_G_pb_Pin);
					break;}
				case 'C':{
					*pa &= ~(seg_A_pa_Pin | seg_E_pa_Pin | seg_F_pa_Pin);
					*pb &= ~(seg_D_pb_Pin );
					break;}
				case 'c':{
					*pa &= ~( seg_E_pa_Pin );
					*pb &= ~(seg_D_pb_Pin | seg_G_pb_Pin);
					break;}
				case 'd':{
					*pa &= ~( seg_B_pa_Pin | seg_C_pa_Pin | seg_E_pa_Pin );
					*pb &= ~(seg_D_pb_Pin | seg_G_pb_Pin);
					break;}
				case 'E':{
					*pa &= ~(seg_A_pa_Pin | seg_E_pa_Pin | seg_F_pa_Pin);
					*pb &= ~(seg_D_pb_Pin | seg_G_pb_Pin);
					break;}
				case 'F':{
					*pa &= ~(seg_A_pa_Pin |  seg_E_pa_Pin | seg_F_pa_Pin);
					*pb &= ~( seg_G_pb_Pin);
					break;}
				case 'G':{
					*pa &= ~(seg_A_pa_Pin |  seg_C_pa_Pin | seg_E_pa_Pin | seg_F_pa_Pin);
					*pb &= ~(seg_D_pb_Pin );
					break;}
				case 'H':{
					*pa &= ~(seg_B_pa_Pin | seg_C_pa_Pin | seg_E_pa_Pin | seg_F_pa_Pin);
					*pb &= ~( seg_G_pb_Pin);
					break;}
				case 'h':{
					*pa &= ~( seg_C_pa_Pin | seg_E_pa_Pin | seg_F_pa_Pin);
					*pb &= ~( seg_G_pb_Pin);
					break;}
				case 'I':{
					*pa &= ~( seg_E_pa_Pin | seg_F_pa_Pin);
					// *pb &= ~(seg_D_pb_Pin | seg_G_pb_Pin);
					break;}
				case 'J':{
					*pa &= ~( seg_B_pa_Pin | seg_C_pa_Pin | seg_E_pa_Pin );
					*pb &= ~(seg_D_pb_Pin );
					break;}
				case 'L':{
					*pa &= ~(seg_E_pa_Pin | seg_F_pa_Pin);
					*pb &= ~(seg_D_pb_Pin );
					break;}
				case 'n':{
					*pa &= ~( seg_C_pa_Pin | seg_E_pa_Pin );
					*pb &= ~( seg_G_pb_Pin);
					break;}
				case 'O':{
					*pa &= ~(seg_A_pa_Pin | seg_B_pa_Pin | seg_C_pa_Pin | seg_E_pa_Pin | seg_F_pa_Pin);
					*pb &= ~(seg_D_pb_Pin );
					break;}
				case 'o':{
					*pa &= ~( seg_C_pa_Pin | seg_E_pa_Pin );
					*pb &= ~(seg_D_pb_Pin | seg_G_pb_Pin);
					break;}
				case 'P':{
					*pa &= ~(seg_A_pa_Pin | seg_B_pa_Pin  | seg_E_pa_Pin | seg_F_pa_Pin);
					*pb &= ~( seg_G_pb_Pin);
					break;}
				case 'q':{
					*pa &= ~(seg_A_pa_Pin | seg_B_pa_Pin | seg_C_pa_Pin | seg_F_pa_Pin);
					*pb &= ~( seg_G_pb_Pin);
					break;}
				case 'r':{
					*pa &= ~( seg_E_pa_Pin );
					*pb &= ~(seg_G_pb_Pin);
					break;}
				case 'S':{
					*pa &= ~(seg_A_pa_Pin | seg_C_pa_Pin  | seg_F_pa_Pin);
					*pb &= ~(seg_D_pb_Pin | seg_G_pb_Pin);
					break;}
				case 't':{
					*pa &= ~( seg_E_pa_Pin | seg_F_pa_Pin);
					*pb &= ~(seg_D_pb_Pin | seg_G_pb_Pin);
					break;}
				case 'U':{
					*pa &= ~(  seg_B_pa_Pin | seg_C_pa_Pin | seg_E_pa_Pin | seg_F_pa_Pin);
					*pb &= ~(seg_D_pb_Pin );
					break;}
				case 'u':{
					*pa &= ~( seg_C_pa_Pin | seg_E_pa_Pin );
					*pb &= ~(seg_D_pb_Pin );
					break;}
				case 'y':{
					*pa &= ~( seg_B_pa_Pin | seg_C_pa_Pin  | seg_F_pa_Pin);
					*pb &= ~(seg_D_pb_Pin | seg_G_pb_Pin);
					break;}

				//specials:
				case 'K':{
					*pa &= ~(seg_A_pa_Pin | seg_C_pa_Pin | seg_E_pa_Pin | seg_F_pa_Pin);
					*pb &= ~(seg_G_pb_Pin);
					break;}
				case 'M':{
					*pa &= ~(seg_A_pa_Pin | seg_B_pa_Pin | seg_F_pa_Pin);
					*pb &= ~(seg_D_pb_Pin );
					break;}
				case 'V':{
					*pa &= ~( seg_B_pa_Pin |   seg_F_pa_Pin);
					*pb &= ~(seg_D_pb_Pin );
					break;}
				case 'W':{
					*pa &= ~( seg_B_pa_Pin | seg_C_pa_Pin | seg_E_pa_Pin | seg_F_pa_Pin);
					*pb &= ~(seg_D_pb_Pin | seg_G_pb_Pin);
					break;}
				case 'X':{
					*pa &= ~(seg_A_pa_Pin  );
					*pb &= ~(seg_D_pb_Pin | seg_G_pb_Pin);
					break;}
				case 'Z':{
					*pa &= ~(seg_A_pa_Pin | seg_B_pa_Pin    | seg_E_pa_Pin);
					*pb &= ~(seg_D_pb_Pin | seg_G_pb_Pin);
					break;}
				case '_':{
					//*pa &= ~(seg_A_pa_Pin | seg_B_pa_Pin    | seg_E_pa_Pin);
					*pb &= ~(seg_D_pb_Pin );
					break;}
				case '-':{
					//*pa &= ~(seg_A_pa_Pin | seg_B_pa_Pin    | seg_E_pa_Pin);
					*pb &= ~(seg_G_pb_Pin );
					break;}
				case '.':{
					//pb -=1;pa-=1;//
					//*pa &= ~(seg_A_pa_Pin | seg_B_pa_Pin    | seg_E_pa_Pin);
					*pb &= ~(seg_DP_pb_Pin );
					break;}
				default:
					*pb &=~seg_DP_pb_Pin;
				// specials:
				/*case 'm':{
					*pa &= ~( seg_C_pa_Pin | seg_E_pa_Pin );
					*pb &= ~( seg_G_pb_Pin | seg_DP_pb_Pin);

					pa+=1;pb+=1;
					*pa=0xffff & ~(dig_0_pa_Pin | dig_1_pa_Pin | dig_2_pa_Pin | dig_3_pa_Pin | dig_time_pa_Pin);
					*pb=0xffff;

					*pa &= ~( seg_C_pa_Pin | seg_E_pa_Pin );
					*pb &= ~( seg_G_pb_Pin );
					break;}
				case 'x':{
					*pa &= ~(seg_A_pa_Pin | seg_B_pa_Pin | seg_C_pa_Pin | seg_E_pa_Pin | seg_F_pa_Pin);
					*pb &= ~(seg_D_pb_Pin | seg_G_pb_Pin | seg_DP_pb_Pin);

					pa+=1;pb+=1;
					*pa=0xffff & ~(dig_0_pa_Pin | dig_1_pa_Pin | dig_2_pa_Pin | dig_3_pa_Pin | dig_time_pa_Pin);
					*pb=0xffff;
					*pa &= ~(seg_A_pa_Pin | seg_B_pa_Pin | seg_C_pa_Pin | seg_E_pa_Pin | seg_F_pa_Pin);
									*pb &= ~(seg_D_pb_Pin | seg_G_pb_Pin);

				}*/

			}

}

void convert_str_to_7seg(uint8_t *from, uint16_t *pa,uint16_t *pb,uint16_t max){
	uint16_t cnt=0;//,mask_a=0,mask_b=0;
	for (cnt=0;cnt<max;cnt++){
		convert_char_to_7seg(*from,pa,pb);
		if (*from == '.')
			{pa-=1;pb-=1;size_buff--;}
		pa+=1;pb+=1;from+=1;
	}
}

void calculate_altitude(uint8_t avg){
	float temp;
	//float temperature=0.0;
	//float pressure=0.0;
	temp=((273.15+temperature)*(pow(pressure/1013.15,1.0/5.257)-1.0))/0.0065;
	if (avg){
		altitude=(temp+altitude)/2.0;
	}else{
		altitude=temp;
	}
}

void start_tim17_with_IT(void){
	  LL_TIM_EnableIT_UPDATE(TIM17);
	  TIM17->CR1 |= TIM_CR1_CEN; // start timer
}

void start_tim16_with_IT(void){
	LL_TIM_EnableIT_UPDATE(TIM16);
	TIM16->CR1 |= TIM_CR1_CEN; // start timer
}

void multiplex_display_fcn(uint16_t offset,uint16_t max_offset){
	//LL_GPIO_TogglePin(led_GPIO_Port, led_Pin);

	if (offset>max_offset){
		offset=max_offset;}
	switch (active_display_digit){
		case 0:{
			GPIOA->ODR = display_buffer_pa[offset];
			GPIOB->ODR = display_buffer_pb[offset];
			//GPIOB->ODR =
			//	create_mask(display_buffer_pb[offset]);
			//GPIOA->ODR |= dig_0_pa_Pin;
			GPIOB->ODR |= dig_0_pb_Pin;
			//prevoius=display_buffer_pb[offset];
			break;}
		case 1:{
			GPIOA->ODR = display_buffer_pa[offset+1];
			GPIOB->ODR = display_buffer_pb[offset+1];
			//GPIOB->ODR =
			//	create_mask(display_buffer_pb[offset+1]);
			GPIOA->ODR |= dig_1_pa_Pin;
			//prevoius=display_buffer_pb[offset+1];
			break;}
		case 2:{
			GPIOA->ODR = display_buffer_pa[offset+2];
			GPIOB->ODR = display_buffer_pb[offset+2];
			//GPIOB->ODR =
			//	create_mask(display_buffer_pb[offset+2]);
			GPIOA->ODR |= dig_2_pa_Pin;
			//prevoius=display_buffer_pb[offset+2];
			break;}
		case 3:{
			GPIOA->ODR = display_buffer_pa[offset+3];
			GPIOB->ODR = display_buffer_pb[offset+3];
			//GPIOB->ODR =
			//create_mask(display_buffer_pb[offset+3]);
			GPIOA->ODR |= dig_3_pa_Pin;
			//prevoius=display_buffer_pb[offset+3];
			break;}
	}

	active_display_digit++;
	if (active_display_digit>=4)
		active_display_digit=0;

}

uint8_t test_push_button_state(uint16_t max_test){
	uint16_t cnt;
	for (cnt=0; cnt<=max_test;cnt++){
		//if((push_button_irq3_GPIO_Port->IDR & push_button_irq3_Pin)){
		if((push_button_irq3_GPIO_Port->IDR & push_button_irq3_Pin)==0x0){
			return(0);
		}
	}
	return(255);
}

/* USER CODE END 4 */

void Error_Handler(void)
{
}

/************************ (C) COPYRIGHT STMicroelectronics *****END OF FILE****/
